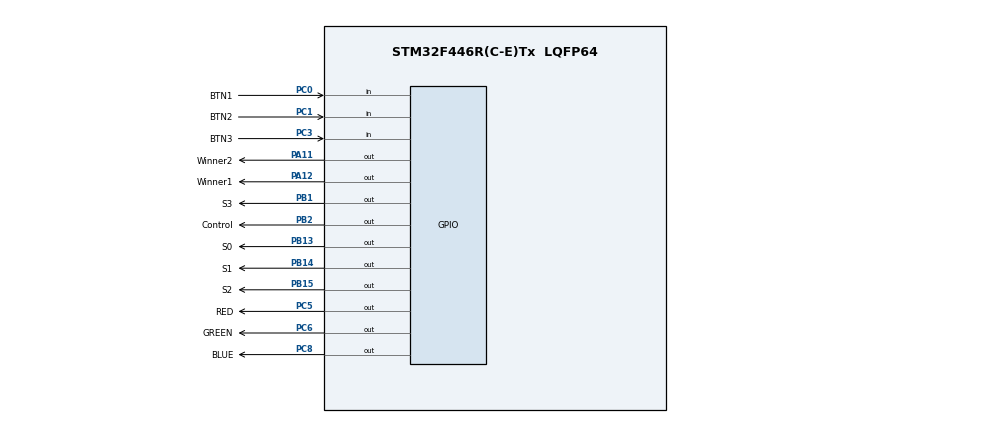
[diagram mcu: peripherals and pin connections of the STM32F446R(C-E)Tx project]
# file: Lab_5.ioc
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Mcu.Family=STM32F4
Mcu.Name=STM32F446R(C-E)Tx
Mcu.Package=LQFP64
NVIC.FPU_IRQn=true\:0\:0\:false\:false\:true\:true\:false\:true
NVIC.PriorityGroup=NVIC_PRIORITYGROUP_4
PA11.GPIO_Label=Winner2
PA11.Signal=GPIO_Output
PA12.GPIO_Label=Winner1
PA12.Signal=GPIO_Output
PA13.Mode=Serial_Wire
PA13.Signal=SYS_JTMS-SWDIO
PA14.Mode=Serial_Wire
PA14.Signal=SYS_JTCK-SWCLK
PB1.GPIO_Label=S3
PB1.Signal=GPIO_Output
PB13.GPIO_Label=S0
PB13.Signal=GPIO_Output
PB14.GPIO_Label=S1
PB14.Signal=GPIO_Output
PB15.GPIO_Label=S2
PB15.Signal=GPIO_Output
PB2.GPIO_Label=Control
PB2.Signal=GPIO_Output
PC0.GPIO_Label=BTN1
PC0.GPIO_PuPd=GPIO_PULLUP
PC0.Signal=GPIO_Input
PC1.GPIO_Label=BTN2
PC1.GPIO_PuPd=GPIO_PULLUP
PC1.Signal=GPIO_Input
PC3.GPIO_Label=BTN3
PC3.GPIO_PuPd=GPIO_PULLUP
PC3.Signal=GPIO_Input
PC5.GPIO_Label=RED
PC5.Signal=GPIO_Output
PC6.GPIO_Label=GREEN
PC6.Signal=GPIO_Output
PC8.GPIO_Label=BLUE
PC8.Signal=GPIO_Output
PH0-OSC_IN.Mode=HSE-External-Oscillator
PH0-OSC_IN.Signal=RCC_OSC_IN
PH1-OSC_OUT.Mode=HSE-External-Oscillator
PH1-OSC_OUT.Signal=RCC_OSC_OUT
ProjectManager.HeapSize=0x200
ProjectManager.StackSize=0x400
ProjectManager.TargetToolchain=STM32CubeIDE
RCC.CortexFreq_Value=16000000
RCC.USBFreq_Value=96000000
RCC.VCOOutputFreq_Value=192000000
board=custom

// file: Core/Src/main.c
/* USER CODE BEGIN Header */
/**
  ******************************************************************************
  * @file           : main.c
  * @brief          : Main program body
  ******************************************************************************
  * @attention
  *
  * Copyright (c) 2024 STMicroelectronics.
  * All rights reserved.
  *
  * This software is licensed under terms that can be found in the LICENSE file
  * in the root directory of this software component.
  * If no LICENSE file comes with this software, it is provided AS-IS.
  *
  ******************************************************************************
  */
/* USER CODE END Header */
#define F_CPU 16000000
#include "main.h"

/* USER CODE BEGIN Includes */
#include <stdbool.h>
#include <stdint.h>
/* USER CODE END Includes */

/* USER CODE BEGIN PV */
	volatile uint8_t Player1 = 0;// Variables de contadores de los jugadores
	volatile uint8_t Player2 = 0;
	const uint8_t time_table = 5; // Delay para mux

	//Banderas para Push Botton
	bool Bandera1 = false;// PARA BOTON 1
	bool Bandera2 = false;// PARA BOTON 2
	bool Bandera3 = false;// PARA BOTON 3

	bool FLAG = false;// PARA FIN DE PARTIDA

/* USER CODE END PV */

void SystemClock_Config(void);
static void MX_GPIO_Init(void);
/* USER CODE BEGIN PFP */
void Tab_Swithc(void);// Tabla de 16 Led para contadores
void Semaforo(void);// Semaforo por un led RGB
void BTN(void);// lECTURA Y ACCION DE LOS BOTONES DE JUGADORES
/* USER CODE END PFP */

int main(void)
{

  /* MCU Configuration--------------------------------------------------------*/

  /* Reset of all peripherals, Initializes the Flash interface and the Systick. */
  HAL_Init();

  /* Configure the system clock */
  SystemClock_Config();

  /* Initialize all configured peripherals */
  MX_GPIO_Init();

  /* Infinite loop */
  /* USER CODE BEGIN WHILE */
  while (1)
  {
	  Semaforo();// INICIA SEMAFORO

	  while(FLAG){// INICIA JUEGO
	  BTN();// Botones de Players
	  Tab_Swithc();// Contador con mux
	  }

    /* USER CODE END WHILE */

  }
}

void SystemClock_Config(void)
{
  RCC_OscInitTypeDef RCC_OscInitStruct = {0};
  RCC_ClkInitTypeDef RCC_ClkInitStruct = {0};

  /** Configure the main internal regulator output voltage
  */
  __HAL_RCC_PWR_CLK_ENABLE();
  __HAL_PWR_VOLTAGESCALING_CONFIG(PWR_REGULATOR_VOLTAGE_SCALE3);

  /** Initializes the RCC Oscillators according to the specified parameters
  * in the RCC_OscInitTypeDef structure.
  */
  RCC_OscInitStruct.OscillatorType = RCC_OSCILLATORTYPE_HSI;
  RCC_OscInitStruct.HSIState = RCC_HSI_ON;
  RCC_OscInitStruct.HSICalibrationValue = RCC_HSICALIBRATION_DEFAULT;
  RCC_OscInitStruct.PLL.PLLState = RCC_PLL_NONE;
  if (HAL_RCC_OscConfig(&RCC_OscInitStruct) != HAL_OK)
  {
    Error_Handler();
  }

  /** Initializes the CPU, AHB and APB buses clocks
  */
  RCC_ClkInitStruct.ClockType = RCC_CLOCKTYPE_HCLK|RCC_CLOCKTYPE_SYSCLK
                              |RCC_CLOCKTYPE_PCLK1|RCC_CLOCKTYPE_PCLK2;
  RCC_ClkInitStruct.SYSCLKSource = RCC_SYSCLKSOURCE_HSI;
  RCC_ClkInitStruct.AHBCLKDivider = RCC_SYSCLK_DIV1;
  RCC_ClkInitStruct.APB1CLKDivider = RCC_HCLK_DIV1;
  RCC_ClkInitStruct.APB2CLKDivider = RCC_HCLK_DIV1;

  if (HAL_RCC_ClockConfig(&RCC_ClkInitStruct, FLASH_LATENCY_0) != HAL_OK)
  {
    Error_Handler();
  }
}

static void MX_GPIO_Init(void)
{
  GPIO_InitTypeDef GPIO_InitStruct = {0};

  /* GPIO Ports Clock Enable */
  __HAL_RCC_GPIOH_CLK_ENABLE();
  __HAL_RCC_GPIOC_CLK_ENABLE();
  __HAL_RCC_GPIOB_CLK_ENABLE();
  __HAL_RCC_GPIOA_CLK_ENABLE();

  /*Configure GPIO pin Output Level */
  HAL_GPIO_WritePin(GPIOC, RED_Pin|GREEN_Pin|BLUE_Pin, GPIO_PIN_RESET);

  /*Configure GPIO pin Output Level */
  HAL_GPIO_WritePin(GPIOB, S3_Pin|Control_Pin|S0_Pin|S1_Pin
                          |S2_Pin, GPIO_PIN_RESET);

  /*Configure GPIO pin Output Level */
  HAL_GPIO_WritePin(GPIOA, Winner2_Pin|Winner1_Pin, GPIO_PIN_RESET);

  /*Configure GPIO pins : BTN1_Pin BTN2_Pin BTN3_Pin */
  GPIO_InitStruct.Pin = BTN1_Pin|BTN2_Pin|BTN3_Pin;
  GPIO_InitStruct.Mode = GPIO_MODE_INPUT;
  GPIO_InitStruct.Pull = GPIO_PULLUP;
  HAL_GPIO_Init(GPIOC, &GPIO_InitStruct);

  /*Configure GPIO pins : RED_Pin GREEN_Pin BLUE_Pin */
  GPIO_InitStruct.Pin = RED_Pin|GREEN_Pin|BLUE_Pin;
  GPIO_InitStruct.Mode = GPIO_MODE_OUTPUT_PP;
  GPIO_InitStruct.Pull = GPIO_NOPULL;
  GPIO_InitStruct.Speed = GPIO_SPEED_FREQ_LOW;
  HAL_GPIO_Init(GPIOC, &GPIO_InitStruct);

  /*Configure GPIO pins : S3_Pin Control_Pin S0_Pin S1_Pin
                           S2_Pin */
  GPIO_InitStruct.Pin = S3_Pin|Control_Pin|S0_Pin|S1_Pin
                          |S2_Pin;
  GPIO_InitStruct.Mode = GPIO_MODE_OUTPUT_PP;
  GPIO_InitStruct.Pull = GPIO_NOPULL;
  GPIO_InitStruct.Speed = GPIO_SPEED_FREQ_LOW;
  HAL_GPIO_Init(GPIOB, &GPIO_InitStruct);

  /*Configure GPIO pins : Winner2_Pin Winner1_Pin */
  GPIO_InitStruct.Pin = Winner2_Pin|Winner1_Pin;
  GPIO_InitStruct.Mode = GPIO_MODE_OUTPUT_PP;
  GPIO_InitStruct.Pull = GPIO_NOPULL;
  GPIO_InitStruct.Speed = GPIO_SPEED_FREQ_LOW;
  HAL_GPIO_Init(GPIOA, &GPIO_InitStruct);

}

/* USER CODE BEGIN 4 */
// Rutinas propias
	Semaforo(){
	if (HAL_GPIO_ReadPin(GPIOC, BTN3_Pin) == GPIO_PIN_RESET) { /// Se dectecta que se presiono boton pull up estado 0

				  Bandera3 = true;
					  while(Bandera3){
						  if (HAL_GPIO_ReadPin(GPIOC, BTN3_Pin) == GPIO_PIN_SET){// Se espera que camibe de estado de 0 a 1
							  Bandera3 = false;}
					  }

					  // Comienza el semaforo
					  HAL_GPIO_WritePin(GREEN_GPIO_Port, GREEN_Pin, 0);
					  HAL_GPIO_WritePin(BLUE_GPIO_Port, BLUE_Pin, 0);
					  HAL_GPIO_WritePin(RED_GPIO_Port, RED_Pin, 1);
					  HAL_Delay(1000);

					  HAL_GPIO_WritePin(GREEN_GPIO_Port, GREEN_Pin, 0);
					  HAL_GPIO_WritePin(RED_GPIO_Port, RED_Pin, 0);
					  HAL_GPIO_WritePin(BLUE_GPIO_Port, BLUE_Pin, 1);
					  HAL_Delay(3000);

					  HAL_GPIO_WritePin(RED_GPIO_Port, RED_Pin, 0);
					  HAL_GPIO_WritePin(BLUE_GPIO_Port, BLUE_Pin, 0);
					  HAL_GPIO_WritePin(GREEN_GPIO_Port, GREEN_Pin, 1);
					  HAL_Delay(500);

					  HAL_GPIO_WritePin(GREEN_GPIO_Port, GREEN_Pin, 0);
					  HAL_GPIO_WritePin(BLUE_GPIO_Port, BLUE_Pin, 0);
					  HAL_GPIO_WritePin(RED_GPIO_Port, RED_Pin, 0);

					  FLAG = true; // Permite el paso a los push de jugadores
					  Player1 = 0;
					  Player2 = 0;

					  HAL_Delay(10);

					}
	}

	BTN(){

		// Contador Jugador 1
		if (HAL_GPIO_ReadPin(GPIOC, BTN1_Pin) == GPIO_PIN_RESET) {
			  Player1++;
			  Bandera1 = true;
			  	  while(Bandera1){
			  		  if (HAL_GPIO_ReadPin(GPIOC, BTN1_Pin) == GPIO_PIN_SET){
			  			  Bandera1 = false;
			  		  }
			  	  }
			  }
		// Contador Jugador 2
		if (HAL_GPIO_ReadPin(GPIOC, BTN2_Pin) == GPIO_PIN_RESET) {
			  Player2++;
			  Bandera2 = true;
				  while(Bandera2){
					  if (HAL_GPIO_ReadPin(GPIOC, BTN2_Pin) == GPIO_PIN_SET){
						  Bandera2 = false;
				  }
			  }
		  }
		// Siguiente apartado determina ganador, y permite una nueva partida
	  if (Player1 > 8){
		  HAL_GPIO_WritePin(Control_GPIO_Port, Control_Pin, 0);// Se apagan las led del contador
		  HAL_GPIO_WritePin(Winner1_GPIO_Port, Winner1_Pin, 1);// Se prender el led ganador
		  Player1 = 0;
		  Player2 = 0;
		  // Esperar a que se presione el boton start para comencar una nueva partida
		  if (HAL_GPIO_ReadPin(GPIOC, BTN3_Pin) == GPIO_PIN_SET) {

			  Bandera3 = true;
				  while(Bandera3){
					  if (HAL_GPIO_ReadPin(GPIOC, BTN3_Pin) == GPIO_PIN_RESET){
						  Bandera3 = false;}
				  }
			}

		  HAL_GPIO_WritePin(Winner1_GPIO_Port, Winner1_Pin, 0);// Se apaga led ganador
		  FLAG = false;// Finaliza juego
		  HAL_Delay(10);
	  }
	  else if (Player2 > 8){
		  HAL_GPIO_WritePin(Control_GPIO_Port, Control_Pin, 0);// Se apagan las led del contador
		  HAL_GPIO_WritePin(Winner2_GPIO_Port, Winner2_Pin, 1);// Se prender el led ganador
		  Player1 = 0;
		  Player2 = 0;

		  // Esperar a que se presione el boton start para comencar una nueva partida
		  if (HAL_GPIO_ReadPin(GPIOC, BTN3_Pin) == GPIO_PIN_SET) {

		  			  Bandera3 = true;
		  				  while(Bandera3){
		  					  if (HAL_GPIO_ReadPin(GPIOC, BTN3_Pin) == GPIO_PIN_RESET){
		  						  Bandera3 = false;}
		  				  }
		  			}

		  HAL_GPIO_WritePin(Winner2_GPIO_Port, Winner2_Pin, 0);// Se apaga led ganador
		  FLAG = false;// Finaliza juego
		  HAL_Delay(10);
	  }

	}
	// Tabla de mux para los 16 leds, para determinar que leds se prenden.
	Tab_Swithc(){
		// Para jugador 1
		switch (Player1) {
		        case 1:
		        	HAL_GPIO_WritePin(Control_GPIO_Port, Control_Pin, 1); // 0000_0001
		        	HAL_GPIO_WritePin(S0_GPIO_Port, S0_Pin, 1);
					HAL_GPIO_WritePin(S1_GPIO_Port, S1_Pin, 1);
					HAL_GPIO_WritePin(S2_GPIO_Port, S2_Pin, 1);
					HAL_GPIO_WritePin(S3_GPIO_Port, S3_Pin, 0);
		            break;

		        case 2:
					HAL_GPIO_WritePin(Control_GPIO_Port, Control_Pin, 1);// 0000_0010
					HAL_GPIO_WritePin(S0_GPIO_Port, S0_Pin, 0);
					HAL_GPIO_WritePin(S1_GPIO_Port, S1_Pin, 1);
					HAL_GPIO_WritePin(S2_GPIO_Port, S2_Pin, 1);
					HAL_GPIO_WritePin(S3_GPIO_Port, S3_Pin, 0);
					break;

		        case 3:
					HAL_GPIO_WritePin(Control_GPIO_Port, Control_Pin, 1);// 0000_0100
					HAL_GPIO_WritePin(S0_GPIO_Port, S0_Pin, 1);
					HAL_GPIO_WritePin(S1_GPIO_Port, S1_Pin, 0);
					HAL_GPIO_WritePin(S2_GPIO_Port, S2_Pin, 1);
					HAL_GPIO_WritePin(S3_GPIO_Port, S3_Pin, 0);
					break;

		        case 4:
					HAL_GPIO_WritePin(Control_GPIO_Port, Control_Pin, 1);// 0000_1000
					HAL_GPIO_WritePin(S0_GPIO_Port, S0_Pin, 0);
					HAL_GPIO_WritePin(S1_GPIO_Port, S1_Pin, 0);
					HAL_GPIO_WritePin(S2_GPIO_Port, S2_Pin, 1);
					HAL_GPIO_WritePin(S3_GPIO_Port, S3_Pin, 0);
					break;

		        case 5:
					HAL_GPIO_WritePin(Control_GPIO_Port, Control_Pin, 1);// 0001_0000
					HAL_GPIO_WritePin(S0_GPIO_Port, S0_Pin, 1);
					HAL_GPIO_WritePin(S1_GPIO_Port, S1_Pin, 1);
					HAL_GPIO_WritePin(S2_GPIO_Port, S2_Pin, 0);
					HAL_GPIO_WritePin(S3_GPIO_Port, S3_Pin, 0);
					break;

		        case 6:
					HAL_GPIO_WritePin(Control_GPIO_Port, Control_Pin, 1);// 0010_0000
					HAL_GPIO_WritePin(S0_GPIO_Port, S0_Pin, 0);
					HAL_GPIO_WritePin(S1_GPIO_Port, S1_Pin, 1);
					HAL_GPIO_WritePin(S2_GPIO_Port, S2_Pin, 0);
					HAL_GPIO_WritePin(S3_GPIO_Port, S3_Pin, 0);
					break;

		        case 7:
					HAL_GPIO_WritePin(Control_GPIO_Port, Control_Pin, 1);// 0100_0000
					HAL_GPIO_WritePin(S0_GPIO_Port, S0_Pin, 1);
					HAL_GPIO_WritePin(S1_GPIO_Port, S1_Pin, 0);
					HAL_GPIO_WritePin(S2_GPIO_Port, S2_Pin, 0);
					HAL_GPIO_WritePin(S3_GPIO_Port, S3_Pin, 0);
					break;

		        case 8:
					HAL_GPIO_WritePin(Control_GPIO_Port, Control_Pin, 1);// 1000_0000
					HAL_GPIO_WritePin(S0_GPIO_Port, S0_Pin, 0);
					HAL_GPIO_WritePin(S1_GPIO_Port, S1_Pin, 0);
					HAL_GPIO_WritePin(S2_GPIO_Port, S2_Pin, 0);
					HAL_GPIO_WritePin(S3_GPIO_Port, S3_Pin, 0);
					break;

		        default:
		        	HAL_GPIO_WritePin(Control_GPIO_Port, Control_Pin, 0);// 0000_0000

		    }

		HAL_Delay(time_table);

		// Para jugador 2
		switch (Player2) {
				case 1:
					HAL_GPIO_WritePin(Control_GPIO_Port, Control_Pin, 1);// 0000_0001
					HAL_GPIO_WritePin(S0_GPIO_Port, S0_Pin, 0);
					HAL_GPIO_WritePin(S1_GPIO_Port, S1_Pin, 0);
					HAL_GPIO_WritePin(S2_GPIO_Port, S2_Pin, 0);
					HAL_GPIO_WritePin(S3_GPIO_Port, S3_Pin, 1);
					break;

				case 2:
					HAL_GPIO_WritePin(Control_GPIO_Port, Control_Pin, 1);// 0000_0010
					HAL_GPIO_WritePin(S0_GPIO_Port, S0_Pin, 1);
					HAL_GPIO_WritePin(S1_GPIO_Port, S1_Pin, 0);
					HAL_GPIO_WritePin(S2_GPIO_Port, S2_Pin, 0);
					HAL_GPIO_WritePin(S3_GPIO_Port, S3_Pin, 1);
					break;

				case 3:
					HAL_GPIO_WritePin(Control_GPIO_Port, Control_Pin, 1);// 0000_0100
					HAL_GPIO_WritePin(S0_GPIO_Port, S0_Pin, 0);
					HAL_GPIO_WritePin(S1_GPIO_Port, S1_Pin, 1);
					HAL_GPIO_WritePin(S2_GPIO_Port, S2_Pin, 0);
					HAL_GPIO_WritePin(S3_GPIO_Port, S3_Pin, 1);
					break;

				case 4:
					HAL_GPIO_WritePin(Control_GPIO_Port, Control_Pin, 1);// 0000_1000
					HAL_GPIO_WritePin(S0_GPIO_Port, S0_Pin, 1);
					HAL_GPIO_WritePin(S1_GPIO_Port, S1_Pin, 1);
					HAL_GPIO_WritePin(S2_GPIO_Port, S2_Pin, 0);
					HAL_GPIO_WritePin(S3_GPIO_Port, S3_Pin, 1);
					break;

				case 5:
					HAL_GPIO_WritePin(Control_GPIO_Port, Control_Pin, 1);// 0001_0000
					HAL_GPIO_WritePin(S0_GPIO_Port, S0_Pin, 0);
					HAL_GPIO_WritePin(S1_GPIO_Port, S1_Pin, 0);
					HAL_GPIO_WritePin(S2_GPIO_Port, S2_Pin, 1);
					HAL_GPIO_WritePin(S3_GPIO_Port, S3_Pin, 1);
					break;

				case 6:
					HAL_GPIO_WritePin(Control_GPIO_Port, Control_Pin, 1);// 0010_0000
					HAL_GPIO_WritePin(S0_GPIO_Port, S0_Pin, 1);
					HAL_GPIO_WritePin(S1_GPIO_Port, S1_Pin, 0);
					HAL_GPIO_WritePin(S2_GPIO_Port, S2_Pin, 1);
					HAL_GPIO_WritePin(S3_GPIO_Port, S3_Pin, 1);
					break;

				case 7:
					HAL_GPIO_WritePin(Control_GPIO_Port, Control_Pin, 1);// 0100_0000
					HAL_GPIO_WritePin(S0_GPIO_Port, S0_Pin, 0);
					HAL_GPIO_WritePin(S1_GPIO_Port, S1_Pin, 1);
					HAL_GPIO_WritePin(S2_GPIO_Port, S2_Pin, 1);
					HAL_GPIO_WritePin(S3_GPIO_Port, S3_Pin, 1);
					break;

				case 8:
					HAL_GPIO_WritePin(Control_GPIO_Port, Control_Pin, 1);// 1000_0000
					HAL_GPIO_WritePin(S0_GPIO_Port, S0_Pin, 1);
					HAL_GPIO_WritePin(S1_GPIO_Port, S1_Pin, 1);
					HAL_GPIO_WritePin(S2_GPIO_Port, S2_Pin, 1);
					HAL_GPIO_WritePin(S3_GPIO_Port, S3_Pin, 1);
					break;

				default:
					HAL_GPIO_WritePin(Control_GPIO_Port, Control_Pin, 0);// 0000_0000

			}

		HAL_Delay(time_table);

	}

/* USER CODE END 4 */

void Error_Handler(void)
{
  __disable_irq();
  while (1)
  {
  }
}
